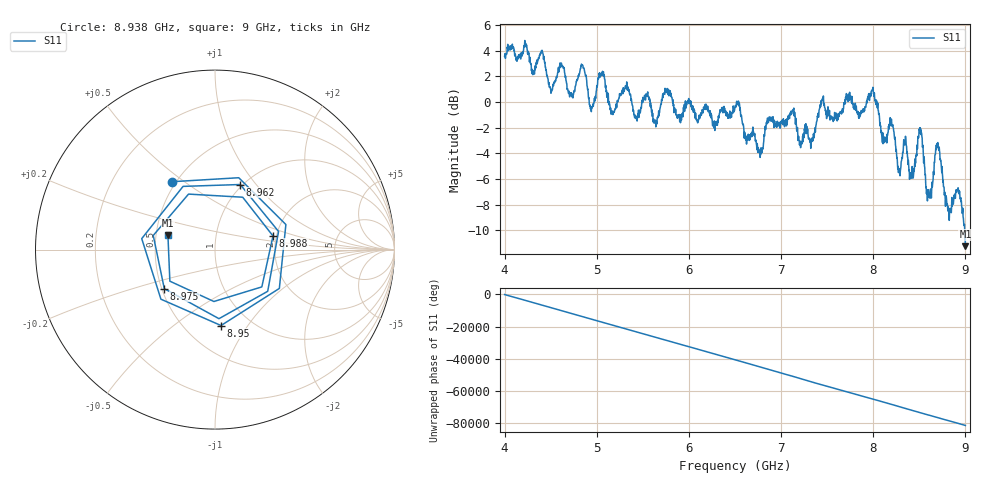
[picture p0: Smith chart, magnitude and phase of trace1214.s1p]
! Created with skrf 1.8.0 (http://scikit-rf.org).
# Hz S RI R 50.0
!freq ReS11 ImS11
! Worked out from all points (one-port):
!   1601 points, 4 GHz to 9 GHz, reference 50 ohm
!   lowest |S11| = -11.2 dB at 9 GHz (marker M1), VSWR 1.76, Z = 28.9 + j5.05 ohm
!   |S11| at or under -10 dB: 8.992123 GHz to end of sweep
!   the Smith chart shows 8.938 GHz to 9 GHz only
!   S11 on the Smith chart (normalised r, x): 8.938 GHz: 0.47, +0.45; 8.95 GHz: 0.74, -0.76; 8.962 GHz: 0.98, +0.83; 8.975 GHz: 0.52, -0.26; 8.988 GHz: 1.92, +0.33; 9 GHz: 0.58, +0.10
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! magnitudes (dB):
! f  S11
! 4 GHz  3.6
! 4.625 GHz  2.8
! 4.722 GHz  0.7
! 4.85 GHz  2.8
! 4.944 GHz  -0.4
! 5.047 GHz  2.2
! 5.169 GHz  -0.7
! 5.25 GHz  0.6
! 5.875 GHz  -1.3
! 6.5 GHz  -0.5
! 6.772 GHz  -4.3
! 7.125 GHz  -0.6
! 7.322 GHz  -3.6
! 7.444 GHz  0.2
! 7.75 GHz  0.4
! 7.997 GHz  1.2
! 8.278 GHz  -5.2
! 8.375 GHz  -4.3
! 8.509 GHz  -2.4
! 8.594 GHz  -6.9
! 8.697 GHz  -3.3
! 8.822 GHz  -8.5
! 8.938 GHz  -7.0
! 8.95 GHz  -7.4
! 8.962 GHz  -8.2
! 8.975 GHz  -9.0
! 8.988 GHz  -9.6
! 9 GHz  -11.2
